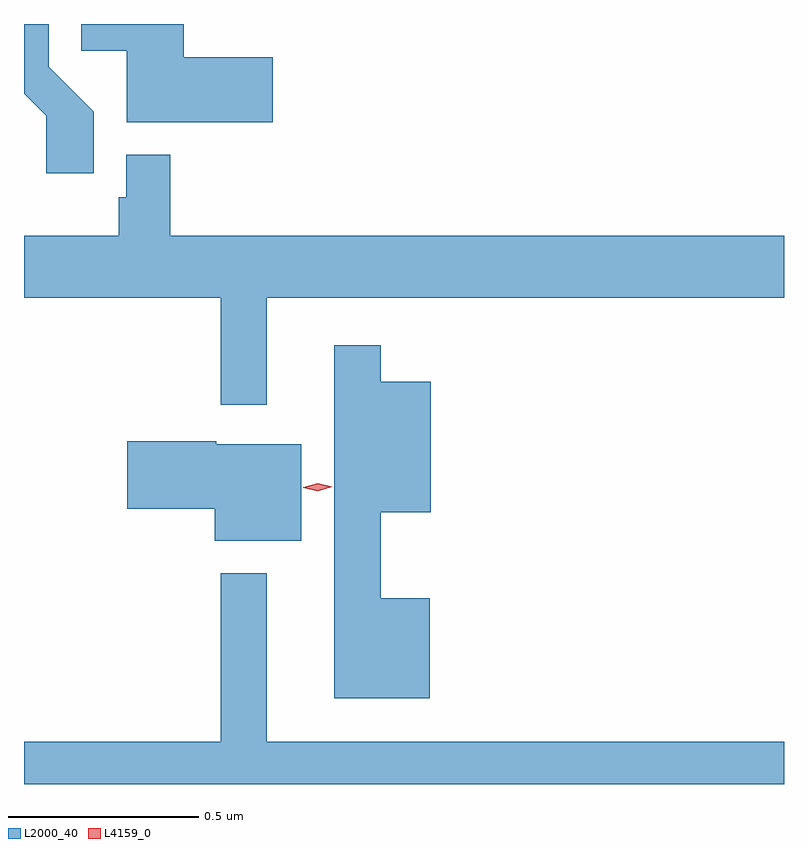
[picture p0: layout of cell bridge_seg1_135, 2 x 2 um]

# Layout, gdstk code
import gdstk
lib = gdstk.Library(unit=1e-6, precision=1e-09)
def P(c, l, *ps):  # polygons
    for p in ps: c.add(gdstk.Polygon(p, *l))
L2000_40 = (2000, 40)
L4159_0 = (4159, 0)

bridge_seg1_135 = lib.new_cell('bridge_seg1_135')
P(bridge_seg1_135, L2000_40, [(413.462,582.858),(413.343,582.977),(413.343,583.089),(413.278,583.089),(413.278,582.905),(413.337,582.847),(413.337,582.696),(413.462,582.696)],
  [(413.932,583.001),(413.699,583.001),(413.699,583.089),(413.428,583.089),(413.428,583.018),(413.549,583.018),(413.549,582.83),(413.932,582.83)],
  [(413.917,582.368),(415.278,582.368),(415.278,582.532),(413.663,582.532),(413.663,582.745),(413.547,582.745),(413.547,582.633),(413.527,582.633),(413.527,582.532),(413.278,582.532),(413.278,582.368),(413.796,582.368),(413.796,582.087),(413.917,582.087)],
  [(414.346,581.578),(414.217,581.578),(414.217,581.804),(414.349,581.804),(414.349,582.148),(414.217,582.148),(414.217,582.244),(414.095,582.244),(414.095,581.315),(414.346,581.315)],
  [(414.007,581.983),(413.784,581.983),(413.784,581.991),(413.55,581.991),(413.55,581.813),(413.78,581.813),(413.78,581.729),(414.007,581.729)],
  [(415.278,581.2),(413.917,581.2),(413.917,581.644),(413.796,581.644),(413.796,581.2),(413.278,581.2),(413.278,581.089),(415.278,581.089)])
P(bridge_seg1_135, L4159_0, [(414.051,581.86),(414.013,581.869),(414.013,581.87),(414.013,581.87),(414.051,581.88),(414.089,581.871),(414.089,581.871),(414.089,581.871)])

lib.write_gds('bridge_seg1_135.gds')
